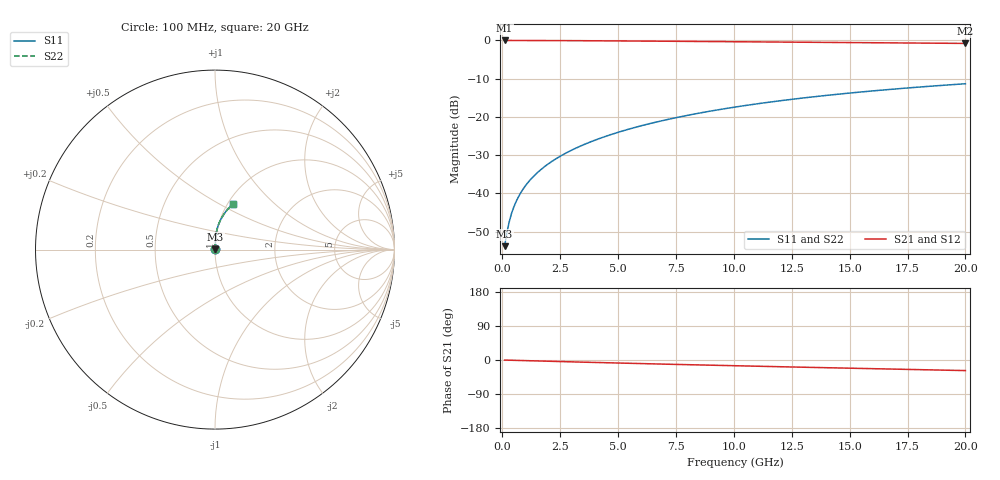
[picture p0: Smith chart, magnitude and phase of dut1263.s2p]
! Touchstone file exported from HFSS 2024.1.0
!  File:  C:/UserFiles/LocalFiles/RDL_TSV_Batchsim/temp_RDL_bottom_1263_1780245872.aedt
!  Generated:  12:47:12 AM Jun  1, 2026
!  Design:  RDL_bottom
!  Project:  temp_RDL_bottom_1263_1780245872
!  Setup:  Setup1
!  Solution:  Sweep
! Variables:
!  dtsv = 10.80580581um
!  hbump = 3um
!  htsv = 50.38um
!  ldown = 396.92um
!  lrdl = 100um
!  p = 40
!  p1 = 47.6um
!  rhole = 1um
!  t = 450um
!  tdown = 4.66um
!  trdl = 3.915915916um
!  wdown = 21.76um
!  wrdl = 20um
# GHz S MA R 50.000000
! Terminal data exported
! Port[1] = RDL1_T1
! Port[2] = RDL1_T2
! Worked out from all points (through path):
!   200 points, 100 MHz to 20 GHz, reference 50 ohm
!   highest |S21| = -0.01 dB at 100 MHz (marker M1); lowest = -0.8 dB at 20 GHz (marker M2)
!   group delay of S21, straight-line fit = 3.83 ps
!   lowest |S11| = -53.8 dB at 100 MHz (marker M3), VSWR 1.00, Z = 50.2 + j0.133 ohm
!   |S11| at or under -10 dB: start of sweep to end of sweep
!   |S22| runs from -53.8 to -11.3 dB; largest |S21 - S12| = 2.7e-15
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0.1  0.002045 40.6  0.9984 -0.2  0.9984 -0.2  0.002045 40.6
! Gamma 0 0 0 0
! Port Impedance 50 0 50 0
0.2  0.003091 58.8  0.9983 -0.3  0.9983 -0.3  0.003091 58.8
0.3  0.004272 67.0  0.9982 -0.5  0.9982 -0.5  0.004272 67.0
0.4  0.005478 71.4  0.9981 -0.7  0.9981 -0.7  0.005478 71.4
0.5  0.006682 74.2  0.998 -0.8  0.998 -0.8  0.006681 74.2
0.7  0.009061 77.6  0.9978 -1.2  0.9978 -1.2  0.009061 77.6
0.8  0.01024 78.8  0.9977 -1.3  0.9977 -1.3  0.01024 78.8
1  0.01259 80.7  0.9974 -1.7  0.9974 -1.7  0.01259 80.7
1.2  0.01495 82.0  0.9971 -2.0  0.9971 -2.0  0.01495 82.0
1.4  0.01732 83.1  0.9968 -2.3  0.9968 -2.3  0.01731 83.1
1.7  0.02089 84.2  0.9962 -2.8  0.9962 -2.8  0.02089 84.2
2  0.0245 85.1  0.9955 -3.3  0.9955 -3.3  0.0245 85.1
2.7  0.03309 86.4  0.9936 -4.4  0.9936 -4.4  0.03309 86.4
3.5  0.04318 87.0  0.9909 -5.7  0.9909 -5.7  0.04318 87.0
4.2  0.05226 87.2  0.9882 -6.8  0.9882 -6.8  0.05226 87.2
5  0.06292 87.2  0.9848 -8.0  0.9848 -8.0  0.06292 87.1
6.8  0.08781 86.1  0.9767 -10.6  0.9767 -10.6  0.0878 86.1
8.4  0.1107 84.5  0.9692 -12.9  0.9692 -12.9  0.1106 84.5
10.1  0.1352 82.5  0.9611 -15.2  0.9611 -15.2  0.1352 82.4
13.4  0.1826 77.9  0.9455 -19.6  0.9455 -19.6  0.1826 77.9
16.7  0.2283 73.3  0.9297 -23.8  0.9297 -23.8  0.2282 73.2
20  0.2713 68.7  0.9136 -27.9  0.9136 -27.9  0.2713 68.7
